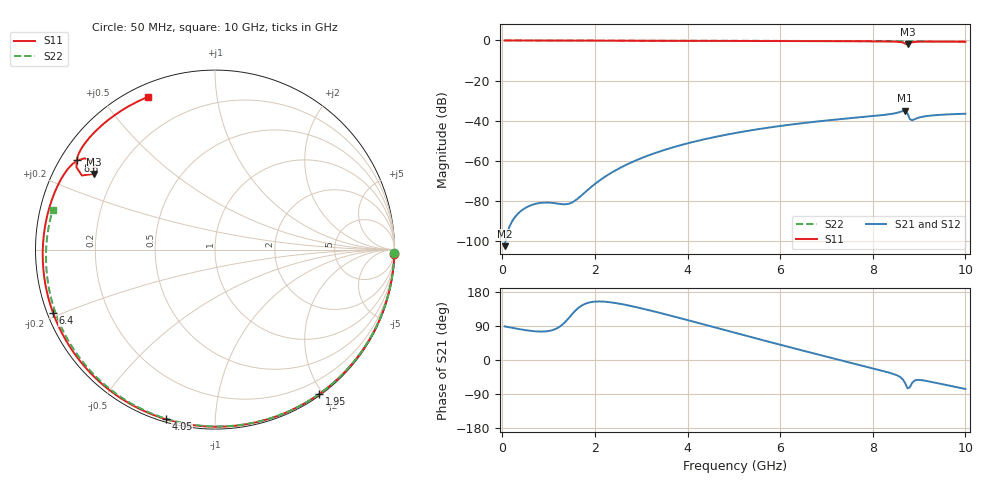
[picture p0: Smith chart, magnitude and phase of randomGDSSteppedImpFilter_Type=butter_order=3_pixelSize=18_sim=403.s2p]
! freq	dB(S11)	phase(S11)	dB(S12)	phase(S12)
!  dB(S21)	phase(S21)	dB(S22)	phase(S22)
!S-par simulation data
#  GHz  S  DB  R 50
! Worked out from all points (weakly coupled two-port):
!   200 points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, 50 MHz to 10 GHz, reference 50 ohm
!   highest |S21| = -34.96 dB at 8.7 GHz (marker M1); lowest = -102.4 dB at 50 MHz (marker M2)
!   lowest |S11| = -2.0 dB at 8.75 GHz (marker M3), VSWR 8.75, Z = 6.18 + j14.2 ohm
!   |S11| at or under -10 dB: nowhere
!   |S22| runs from -0.6 to 0.0 dB; largest |S21 - S12| = 0
!   S11 on the Smith chart (normalised r, x): 50 MHz: 0, -80; 1.95 GHz: 0.02, -1.96; 4.05 GHz: 0.01, -0.75; 6.4 GHz: 0.02, -0.19; 8.6 GHz: 0.05, +0.30; 10 GHz: 0.05, +0.65
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0.05  -0.00 -1.4  -102.42 88.8  -102.42 88.8  -0.00 -1.1
0.75  -0.03 -21.3  -81.17 75.3  -81.17 75.3  -0.02 -16.1
1.55  -0.05 -43.4  -80.10 126.8  -80.10 126.8  -0.04 -33.0
1.75  -0.06 -48.8  -76.35 146.0  -76.35 146.0  -0.05 -37.2
1.95  -0.07 -54.1  -72.38 153.4  -72.38 153.4  -0.05 -41.3
2.25  -0.08 -62.0  -67.37 153.5  -67.37 153.5  -0.06 -47.5
2.6  -0.09 -71.0  -62.78 147.0  -62.78 147.0  -0.07 -54.5
3.4  -0.12 -90.8  -55.27 124.4  -55.27 124.4  -0.09 -70.3
4.05  -0.14 -106.2  -50.93 103.7  -50.93 103.7  -0.11 -82.8
5.05  -0.19 -128.9  -46.01 71.0  -46.01 71.0  -0.16 -101.3
5.75  -0.23 -144.4  -43.39 48.3  -43.39 48.3  -0.19 -113.9
6.4  -0.28 -158.7  -41.40 27.6  -41.40 27.6  -0.23 -125.5
6.7  -0.30 -165.4  -40.60 18.2  -40.60 18.2  -0.26 -130.9
7.55  -0.38 175.3  -38.62 -8.2  -38.62 -8.2  -0.33 -146.1
8.35  -0.51 155.3  -36.76 -33.4  -36.76 -33.4  -0.41 -160.8
8.6  -0.79 147.0  -35.51 -45.6  -35.51 -45.6  -0.44 -165.5
8.7  -1.56 144.1  -34.96 -61.4  -34.96 -61.4  -0.45 -167.5
8.75  -1.99 147.9  -36.37 -74.5  -36.37 -74.5  -0.45 -168.4
8.8  -1.42 150.9  -39.12 -72.1  -39.12 -72.1  -0.46 -169.4
8.85  -0.94 149.3  -39.73 -60.3  -39.73 -60.3  -0.47 -170.4
9.25  -0.56 135.4  -37.41 -57.5  -37.41 -57.5  -0.52 -178.2
10  -0.64 113.7  -36.49 -76.4  -36.49 -76.4  -0.62 166.1
